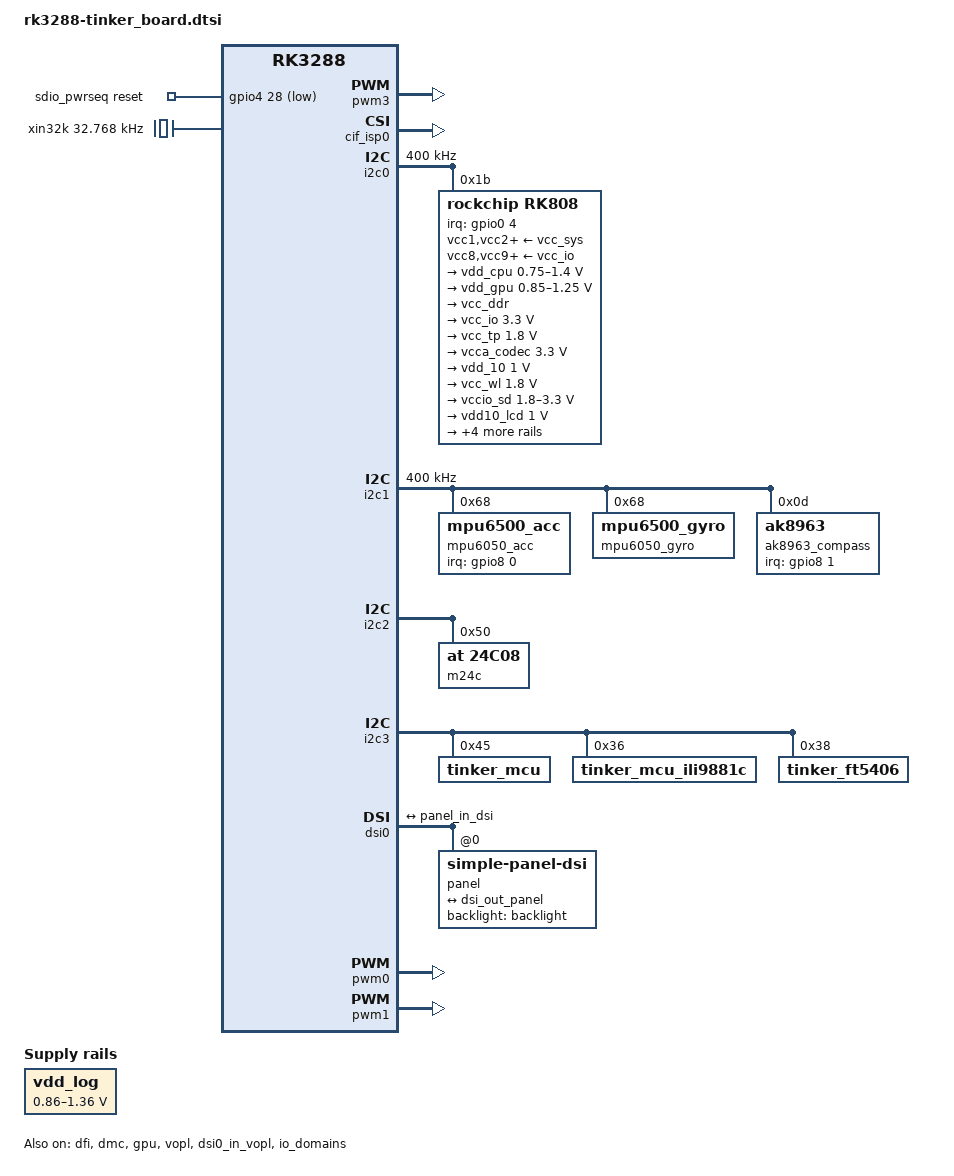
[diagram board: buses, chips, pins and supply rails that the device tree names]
/*
 * Copyright (c) 2018 Fuzhou Rockchip Electronics Co., Ltd
 *
 * SPDX-License-Identifier: (GPL-2.0+ OR MIT)
 */

/dts-v1/;
#include "rk3288-tinker_board-common.dtsi"
#include "rk3288-tinker_board-android.dtsi"
#include <dt-bindings/sensor-dev.h>

/ {
	panel {
		status = "disabled";
		compatible = "simple-panel";
		backlight = <&backlight>;
		enable-gpios = <&gpio7 RK_PA4 GPIO_ACTIVE_HIGH>;
		prepare-delay-ms = <120>;

		display-timings {
			native-mode = <&timing0>;

			timing0: timing0 {
				clock-frequency = <200000000>;
				hactive = <1536>;
				vactive = <2048>;
				hfront-porch = <12>;
				hsync-len = <16>;
				hback-porch = <48>;
				vfront-porch = <8>;
				vsync-len = <4>;
				vback-porch = <8>;
				hsync-active = <0>;
				vsync-active = <0>;
				de-active = <0>;
				pixelclk-active = <0>;
			};
		};

		port {
			panel_in_edp: endpoint {
				remote-endpoint = <&edp_out_panel>;
			};
		};
	};

	sdio_pwrseq: sdio-pwrseq {
		compatible = "mmc-pwrseq-simple";
		clocks = <&rk808 1>;
		clock-names = "ext_clock";
		pinctrl-names = "default";
		pinctrl-0 = <&wifi_enable_h>;

		/*
		 * On the module itself this is one of these (depending
		 * on the actual card populated):
		 * - SDIO_RESET_L_WL_REG_ON
		 * - PDN (power down when low)
		 */
		reset-gpios = <&gpio4 28 GPIO_ACTIVE_LOW>;
	};

	test-power {
		status = "disabled";
	};

	wireless-bluetooth {
		clocks = <&rk808 1>;
		clock-names = "ext_clock";
	};

	/delete-node/ sdmmc-regulator;

	vdd_log: vdd-logic {
		compatible = "pwm-regulator";
		rockchip,pwm_id = <1>;
		rockchip,pwm_voltage = <1100000>;
		pwms = <&pwm1 0 25000 1>;
		regulator-name = "vcc_log";
		regulator-min-microvolt = <860000>;
		regulator-max-microvolt = <1360000>;
		regulator-always-on;
		regulator-boot-on;
	};

	xin32k: xin32k {
		compatible = "fixed-clock";
		clock-frequency = <32768>;
		clock-output-names = "xin32k";
		#clock-cells = <0>;
	};
};

&pwm3 {
       status = "okay";
};

&backlight {
       pwms = <&pwm3 0 1000000 0>;
       default-brightness-level = <200>;
       minimal-brightness-level = <26>;
       soc_enablekl-gpios = <&gpio8 RK_PB1 GPIO_ACTIVE_HIGH>;
       enable_delay = <15>;
       disable_delay = <5>;
       pinctrl-names = "default";
       pinctrl-0 = <&pinctrl_lvds_bl_en>;
};

&cpu0 {
	cpu-supply = <&vdd_cpu>;
};

&cif_isp0 {
	status = "okay";
};

&dfi {
	status = "okay";
};

&dmc {
	center-supply = <&vdd_log>;
	status = "okay";
};

&edp {
	force-hpd;
	status = "disabled";

	ports {
		port@1 {
			reg = <1>;

			edp_out_panel: endpoint {
				remote-endpoint = <&panel_in_edp>;
			};
		};
	};
};

&edp_in_vopb {
	status = "disabled";
};

&edp_in_vopl {
	status = "disabled";
};

&route_edp {
	connect = <&vopl_out_edp>;
	status = "disabled";
};

&gpu {
	status = "okay";
	mali-supply = <&vdd_gpu>;
};

&gmac {
	max-speed = <1000>;
};

&hdmi_analog_sound {
	status = "disabled";
};

&sound {
	status = "okay";
};

&i2c0 {
	clock-frequency = <400000>;

	rk808: pmic@1b {
		compatible = "rockchip,rk808";
		reg = <0x1b>;
		interrupt-parent = <&gpio0>;
		interrupts = <4 IRQ_TYPE_LEVEL_LOW>;
		pinctrl-names = "default";
		pinctrl-0 = <&pmic_int &global_pwroff>;
		rockchip,system-power-controller;
		wakeup-source;
		#clock-cells = <1>;
		clock-output-names = "rk808-clkout1", "rk808-clkout2";

		vcc1-supply = <&vcc_sys>;
		vcc2-supply = <&vcc_sys>;
		vcc3-supply = <&vcc_sys>;
		vcc4-supply = <&vcc_sys>;
		vcc6-supply = <&vcc_sys>;
		vcc8-supply = <&vcc_io>;
		vcc9-supply = <&vcc_io>;
		vcc12-supply = <&vcc_io>;
		vddio-supply = <&vcc_io>;

		regulators {
			vdd_cpu: DCDC_REG1 {
				regulator-always-on;
				regulator-boot-on;
				regulator-min-microvolt = <750000>;
				regulator-max-microvolt = <1400000>;
				regulator-name = "vdd_arm";
				regulator-state-mem {
					regulator-off-in-suspend;
				};
			};

			vdd_gpu: DCDC_REG2 {
				regulator-always-on;
				regulator-boot-on;
				regulator-min-microvolt = <850000>;
				regulator-max-microvolt = <1250000>;
				regulator-name = "vdd_gpu";
				regulator-ramp-delay = <6000>;
				regulator-state-mem {
					regulator-off-in-suspend;
				};
			};

			vcc_ddr: DCDC_REG3 {
				regulator-always-on;
				regulator-boot-on;
				regulator-name = "vcc_ddr";
				regulator-state-mem {
					regulator-on-in-suspend;
				};
			};

			vcc_io: DCDC_REG4 {
				regulator-always-on;
				regulator-boot-on;
				regulator-min-microvolt = <3300000>;
				regulator-max-microvolt = <3300000>;
				regulator-name = "vcc_io";
				regulator-state-mem {
					regulator-on-in-suspend;
					regulator-suspend-microvolt = <3300000>;
				};
			};

			vcc_tp: LDO_REG1 {
				regulator-always-on;
				regulator-boot-on;
				regulator-min-microvolt = <1800000>;
				regulator-max-microvolt = <1800000>;
				regulator-name = "vcc_tp";
				regulator-state-mem {
					regulator-off-in-suspend;
				};
			};

			vcca_codec: LDO_REG2 {
				regulator-always-on;
				regulator-boot-on;
				regulator-min-microvolt = <3300000>;
				regulator-max-microvolt = <3300000>;
				regulator-name = "vcca_codec";
				regulator-state-mem {
					regulator-on-in-suspend;
					regulator-suspend-microvolt = <3300000>;
				};
			};

			vdd_10: LDO_REG3 {
				regulator-always-on;
				regulator-boot-on;
				regulator-min-microvolt = <1000000>;
				regulator-max-microvolt = <1000000>;
				regulator-name = "vdd_10";
				regulator-state-mem {
					regulator-on-in-suspend;
					regulator-suspend-microvolt = <1000000>;
				};
			};

			vcc_wl: LDO_REG4 {
				regulator-always-on;
				regulator-boot-on;
				regulator-min-microvolt = <1800000>;
				regulator-max-microvolt = <1800000>;
				regulator-name = "vcc_wl";
				regulator-state-mem {
					regulator-on-in-suspend;
				};
			};

			vccio_sd: LDO_REG5 {
				regulator-always-on;
				regulator-boot-on;
				regulator-min-microvolt = <1800000>;
				regulator-max-microvolt = <3300000>;
				regulator-name = "vccio_sd";
				regulator-state-mem {
					regulator-off-in-suspend;
				};
			};

			vdd10_lcd: LDO_REG6 {
				regulator-always-on;
				regulator-boot-on;
				regulator-min-microvolt = <1000000>;
				regulator-max-microvolt = <1000000>;
				regulator-name = "vdd10_lcd";
				regulator-state-mem {
					regulator-off-in-suspend;
				};
			};

			vcc_18: LDO_REG7 {
				regulator-always-on;
				regulator-boot-on;
				regulator-min-microvolt = <1800000>;
				regulator-max-microvolt = <1800000>;
				regulator-name = "vcc_18";
				regulator-state-mem {
					regulator-on-in-suspend;
					regulator-suspend-microvolt = <1800000>;
				};
			};

			vcc18_lcd: LDO_REG8 {
				regulator-always-on;
				regulator-boot-on;
				regulator-min-microvolt = <1800000>;
				regulator-max-microvolt = <1800000>;
				regulator-name = "vcc18_lcd";
				regulator-state-mem {
					regulator-off-in-suspend;
				};
			};

			vcc_sd: SWITCH_REG1 {
				regulator-always-on;
				regulator-boot-on;
				regulator-name = "vcc_sd";
				regulator-state-mem {
					regulator-off-in-suspend;
				};
			};

			vcc_lcd: SWITCH_REG2 {
				regulator-always-on;
				regulator-boot-on;
				regulator-name = "vcc_lcd";
				regulator-state-mem {
					regulator-off-in-suspend;
				};
			};
		};
	};
};

&i2c1 {
	status = "okay";
	clock-frequency = <400000>;

	mpu6050_acc: mpu-acc@68 {
		status = "okay";
		compatible = "mpu6500_acc";
		pinctrl-names = "default";
		pinctrl-0 = <&mpu6050_irq_gpio>;
		reg = <0x68>;
		irq-gpio = <&gpio8 0 IRQ_TYPE_EDGE_RISING>;
		irq_enable = <0>;
		poll_delay_ms = <30>;
		type = <SENSOR_TYPE_ACCEL>;
		layout = <8>;
	};

	mpu6050_gyro: mpu-gyro@68 {
		status = "okay";
		compatible = "mpu6500_gyro";
		reg = <0x68>;
		irq_enable = <0>;
		poll_delay_ms = <30>;
		type = <SENSOR_TYPE_GYROSCOPE>;
		layout = <8>;
	};

	ak8963_compass: ak8963-compass@0d {
		status = "okay";
		compatible = "ak8963";
		pinctrl-names = "default";
		pinctrl-0 = <&ak8963_irq_gpio>;
		reg = <0x0d>;
		type = <SENSOR_TYPE_COMPASS>;
		irq-gpio = <&gpio8 1 IRQ_TYPE_EDGE_RISING>;
		irq_enable = <0>;
		poll_delay_ms = <30>;
		layout = <1>;
	};

};

&i2c2 {
	status = "okay";

	m24c: m24c08@50 {
		compatible = "at,24c08";
		reg = <0x50>;
	};
};

&i2c3 {
	status = "okay";

	dsi_lvds_bridge2: lt9211@2d {
		compatible = "lt9211";
		status = "disabled";
		reg = <0x2d>;

		lvds-clk-rate = <72000000>;
		lvds-format = <2>;//VESA
		lvds-bpp = <24>;///RGB888
		dsi-lanes = <2>;//u-boot
		sync_delay = <33>;
		de-mode;
		//dual-link;
		//test-pattern;

		t1=<0>;
		t2=<1>;
		t3=<500>;
		t4=<200>;
		t5=<1>;
		t6=<0>;
		t7=<1000>;

		pinctrl-names = "default";
		pinctrl-0 =  <&pinctrl_sn65dsi84_en &pinctrl_lvds_vdd_en  &pinctrl_pwr_source>;//<&pinctrl_sn65dsi84_irq>

		EN-gpios = <&gpio8 RK_PB0 GPIO_ACTIVE_HIGH>;
		lvds_vdd_en-gpios = <&gpio8 RK_PA6 GPIO_ACTIVE_HIGH>;
		//lt9211_irq-gpios = <&gpio8 RK_PA7 GPIO_ACTIVE_HIGH>;
		pwr_source-gpios = <&gpio8 RK_PA3 GPIO_ACTIVE_HIGH>;
	};

	dsi_lvds_bridge: sn65dsi84@2c {
		compatible = "sn65dsi84";
		status = "disabled";
		reg = <0x2c>;

		lvds-clk-rate = <72000000>;
		lvds-format = <2>;
		lvds-bpp = <24>;
		dsi-lanes = <4>;//u-boot
		sync_delay = <33>;
		//dual-link;
		//test-pattern;

		t1=<0>;
		t2=<1>;
		t3=<500>;
		t4=<200>;
		t5=<1>;
		t6=<0>;
		t7=<1000>;

		pinctrl-names = "default";
		pinctrl-0 =  <&pinctrl_sn65dsi84_en &pinctrl_lvds_vdd_en &pinctrl_sn65dsi84_irq  &pinctrl_pwr_source>;//<&pinctrl_lvds_hdmi_sel>

		/*lvds_hdmi_sel-gpios = <&5 23 GPIO_ACTIVE_HIGH>;*/
		EN-gpios = <&gpio8 RK_PB0 GPIO_ACTIVE_HIGH>;
		lvds_vdd_en-gpios = <&gpio8 RK_PA6 GPIO_ACTIVE_HIGH>;
		dsi84_irq-gpios = <&gpio8 RK_PA7 GPIO_ACTIVE_HIGH>;
		pwr_source-gpios = <&gpio8 RK_PA3 GPIO_ACTIVE_HIGH>;
	};

	tinker_mcu: tinker_mcu@45 {
		compatible = "tinker_mcu";
		reg = <0x45>;
	};

	tinker_mcu_ili9881c: tinker_mcu_ili9881c@36 {
		compatible = "tinker_mcu_ili9881c";
		reg = <0x36>;
	};

        tinker_ft5406: tinker_ft5406@38 {
                compatible = "tinker_ft5406";
                reg = <0x38>;
        };
};

&vopl {
	status = "okay";
};

&dsi0_in_vopl {
	status = "okay";
};

&dsi0_in_vopb {
	status = "disabled";
};

&route_dsi0 {
	status = "disabled";
};

&dsi0 {
	status = "okay";
	panel@0 {
		compatible ="simple-panel-dsi";
		backlight = <&backlight>;
		reg = <0>;
		rk3288_tinker_baord;

		width-mm = <409>;
		height-mm = <230>;
		bpc=<8>;
		bus-format = <0x100a>;//<MEDIA_BUS_FMT_RGB888_1X24>;
		dsi,flags = <0x3>;
		dsi,format = <0>;
		dsi,lanes = <2>;

		t1=<1>;//VCC on to start lvds signal
		t2=<500>;//LVDS signal(start) to turn Backlihgt on
		t3=<200>;//Backlihgt(off) to stop lvds signal
		t4=<1>;//LVDS signal to turn VCC off
		t5=<1000>;//VCC off to turn VCC on

		rpi-init-sequence = [
				29 00 06 10 02 03 00 00 00
				29 00 06 64 01 0C 00 00 00
				29 00 06 68 01 0C 00 00 00
				29 00 06 44 01 00 00 00 00
				29 00 06 48 01 00 00 00 00
				29 00 06 14 01 15 00 00 00
				29 00 06 50 04 60 00 00 00
				29 00 06 20 04 52 01 10 00
				29 00 06 24 04 14 00 1A 00
				29 00 06 28 04 20 03 69 00
				29 00 06 2C 04 02 00 15 00
				29 00 06 30 04 E0 01 07 00
				29 00 06 34 04 01 00 00 00
				29 00 06 64 04 0F 04 00 00
				29 00 06 04 01 01 00 00 00
				29 00 06 04 02 01 00 00 00
		];
		powertip-exit-sequence = [
			05 14 01 28
			05 78 01 10
		];
		powertip-rev-a-init-sequence = [
			39 00 04 ff 98 81 03
			15 00 02 03 55
			15 00 02 04 13
			15 00 02 06 06
			15 00 02 07 01
			15 00 02 09 01
			15 00 02 0a 01
			15 00 02 0f 18
			15 00 02 10 18
			15 00 02 1e 44
			15 00 02 1f 80
			15 00 02 20 02
			15 00 02 21 03
			15 00 02 28 33
			15 00 02 29 03
			15 00 02 34 04
			15 00 02 38 01
			15 00 02 50 01
			15 00 02 51 23
			15 00 02 52 45
			15 00 02 53 67
			15 00 02 54 89
			15 00 02 55 ab
			15 00 02 56 01
			15 00 02 57 23
			15 00 02 58 45
			15 00 02 59 67
			15 00 02 5a 89
			15 00 02 5b ab
			15 00 02 5c cd
			15 00 02 5d ef
			15 00 02 5e 11
			15 00 02 5f 14
			15 00 02 60 15
			15 00 02 61 0f
			15 00 02 62 0d
			15 00 02 63 0e
			15 00 02 64 0c
			15 00 02 65 06
			15 00 02 66 02
			15 00 02 67 02
			15 00 02 68 02
			15 00 02 69 02
			15 00 02 6a 02
			15 00 02 6b 02
			15 00 02 6c 02
			15 00 02 6d 02
			15 00 02 6e 02
			15 00 02 6f 02
			15 00 02 70 02
			15 00 02 72 01
			15 00 02 73 08
			15 00 02 74 02
			15 00 02 75 14
			15 00 02 76 15
			15 00 02 77 0f
			15 00 02 78 0d
			15 00 02 79 0e
			15 00 02 7a 0c
			15 00 02 7b 08
			15 00 02 7c 02
			15 00 02 7d 02
			15 00 02 7e 02
			15 00 02 7f 02
			15 00 02 80 02
			15 00 02 81 02
			15 00 02 82 02
			15 00 02 83 02
			15 00 02 84 02
			15 00 02 85 02
			15 00 02 86 02
			15 00 02 88 01
			15 00 02 89 06
			15 00 02 8a 02
			39 00 04 ff 98 81 04
			15 00 02 6c 15
			15 00 02 6e 2a
			15 00 02 6f 33
			15 00 02 3a 24
			15 00 02 8d 14
			15 00 02 87 ba
			15 00 02 26 76
			15 00 02 b2 d1
			15 00 02 b5 d7
			15 00 02 35 1f
			39 00 04 ff 98 81 01
			15 00 02 22 0a
			15 00 02 53 72
			15 00 02 55 77
			15 00 02 50 a6
			15 00 02 51 a6
			15 00 02 60 30
			15 00 02 a0 08
			15 00 02 a1 1a
			15 00 02 a2 2a
			15 00 02 a3 14
			15 00 02 a4 17
			15 00 02 a5 2b
			15 00 02 a6 1d
			15 00 02 a7 20
			15 00 02 a8 9d
			15 00 02 a9 1c
			15 00 02 aa 29
			15 00 02 ab 8f
			15 00 02 ac 20
			15 00 02 ad 1f
			15 00 02 ae 4f
			15 00 02 af 23
			15 00 02 b0 29
			15 00 02 b1 56
			15 00 02 b2 66
			15 00 02 b3 39
			15 00 02 c0 08
			15 00 02 c1 1a
			15 00 02 c2 2a
			15 00 02 c3 15
			15 00 02 c4 17
			15 00 02 c5 2b
			15 00 02 c6 1d
			15 00 02 c7 20
			15 00 02 c8 9d
			15 00 02 c9 1d
			15 00 02 ca 29
			15 00 02 cb 8f
			15 00 02 cc 20
			15 00 02 cd 1f
			15 00 02 ce 4f
			15 00 02 cf 24
			15 00 02 d0 29
			15 00 02 d1 56
			15 00 02 d2 66
			15 00 02 d3 39
			39 00 04 ff 98 81 00
			15 00 02 35 00
			05 78 01 11
			05 78 01 29
		];
		powertip-rev-b-init-sequence = [
			39 00 04 FF 98 81 03
			15 00 02 01 00
			15 00 02 02 00
			15 00 02 03 73
			15 00 02 04 00
			15 00 02 05 00
			15 00 02 06 0A
			15 00 02 07 00
			15 00 02 08 00
			15 00 02 09 61
			15 00 02 0A 00
			15 00 02 0B 00
			15 00 02 0C 01
			15 00 02 0D 00
			15 00 02 0E 00
			15 00 02 0F 61
			15 00 02 10 61
			15 00 02 11 00
			15 00 02 12 00
			15 00 02 13 00
			15 00 02 14 00
			15 00 02 15 00
			15 00 02 16 00
			15 00 02 17 00
			15 00 02 18 00
			15 00 02 19 00
			15 00 02 1A 00
			15 00 02 1B 00
			15 00 02 1C 00
			15 00 02 1D 00
			15 00 02 1E 40
			15 00 02 1F 80
			15 00 02 20 06
			15 00 02 21 01
			15 00 02 22 00
			15 00 02 23 00
			15 00 02 24 00
			15 00 02 25 00
			15 00 02 26 00
			15 00 02 27 00
			15 00 02 28 33
			15 00 02 29 03
			15 00 02 2A 00
			15 00 02 2B 00
			15 00 02 2C 00
			15 00 02 2D 00
			15 00 02 2E 00
			15 00 02 2F 00
			15 00 02 30 00
			15 00 02 31 00
			15 00 02 32 00
			15 00 02 33 00
			15 00 02 34 04
			15 00 02 35 00
			15 00 02 36 00
			15 00 02 37 00
			15 00 02 38 3C
			15 00 02 39 00
			15 00 02 3A 00
			15 00 02 3B 00
			15 00 02 3C 00
			15 00 02 3D 00
			15 00 02 3E 00
			15 00 02 3F 00
			15 00 02 40 00
			15 00 02 41 00
			15 00 02 42 00
			15 00 02 43 00
			15 00 02 44 00
			15 00 02 50 10
			15 00 02 51 32
			15 00 02 52 54
			15 00 02 53 76
			15 00 02 54 98
			15 00 02 55 BA
			15 00 02 56 10
			15 00 02 57 32
			15 00 02 58 54
			15 00 02 59 76
			15 00 02 5A 98
			15 00 02 5B BA
			15 00 02 5C DC
			15 00 02 5D FE
			15 00 02 5E 00
			15 00 02 5F 0E
			15 00 02 60 0F
			15 00 02 61 0C
			15 00 02 62 0D
			15 00 02 63 06
			15 00 02 64 07
			15 00 02 65 02
			15 00 02 66 02
			15 00 02 67 02
			15 00 02 68 02
			15 00 02 69 01
			15 00 02 6A 00
			15 00 02 6B 02
			15 00 02 6C 15
			15 00 02 6D 14
			15 00 02 6E 02
			15 00 02 6F 02
			15 00 02 70 02
			15 00 02 71 02
			15 00 02 72 02
			15 00 02 73 02
			15 00 02 74 02
			15 00 02 75 0E
			15 00 02 76 0F
			15 00 02 77 0C
			15 00 02 78 0D
			15 00 02 79 06
			15 00 02 7A 07
			15 00 02 7B 02
			15 00 02 7C 02
			15 00 02 7D 02
			15 00 02 7E 02
			15 00 02 7F 01
			15 00 02 80 00
			15 00 02 81 02
			15 00 02 82 14
			15 00 02 83 15
			15 00 02 84 02
			15 00 02 85 02
			15 00 02 86 02
			15 00 02 87 02
			15 00 02 88 02
			15 00 02 89 02
			15 00 02 8A 02
			39 00 04 FF 98 81 04
			15 00 02 6C 15
			15 00 02 6E 2A
			15 00 02 6F 33
			15 00 02 3B 98
			15 00 02 3A 94
			15 00 02 8D 14
			15 00 02 87 BA
			15 00 02 26 76
			15 00 02 B2 D1
			15 00 02 B5 06
			15 00 02 38 01
			15 00 02 39 00
			39 00 04 FF 98 81 01
			15 00 02 22 0A
			15 00 02 31 00
			15 00 02 53 7D
			15 00 02 55 8F
			15 00 02 40 33
			15 00 02 50 96
			15 00 02 51 96
			15 00 02 60 23
			15 00 02 A0 08
			15 00 02 A1 1D
			15 00 02 A2 2A
			15 00 02 A3 10
			15 00 02 A4 15
			15 00 02 A5 28
			15 00 02 A6 1C
			15 00 02 A7 1D
			15 00 02 A8 7E
			15 00 02 A9 1D
			15 00 02 AA 29
			15 00 02 AB 6B
			15 00 02 AC 1A
			15 00 02 AD 18
			15 00 02 AE 4B
			15 00 02 AF 20
			15 00 02 B0 27
			15 00 02 B1 50
			15 00 02 B2 64
			15 00 02 B3 39
			15 00 02 C0 08
			15 00 02 C1 1D
			15 00 02 C2 2A
			15 00 02 C3 10
			15 00 02 C4 15
			15 00 02 C5 28
			15 00 02 C6 1C
			15 00 02 C7 1D
			15 00 02 C8 7E
			15 00 02 C9 1D
			15 00 02 CA 29
			15 00 02 CB 6B
			15 00 02 CC 1A
			15 00 02 CD 18
			15 00 02 CE 4B
			15 00 02 CF 20
			15 00 02 D0 27
			15 00 02 D1 50
			15 00 02 D2 64
			15 00 02 D3 39
			39 00 04 ff 98 81 00
			15 00 02 35 00
			05 78 01 11
			05 78 01 29
		];

		rpi-display-timings {
			native-mode = <&timing2>;

			timing2: timing2 {
				clock-frequency = <27200000>;
				hactive = <800>;
				vactive = <480>;
				hfront-porch = <1>;
				hsync-len = <2>;
				hback-porch = <52>;
				vfront-porch = <28>;//Let it be different from panel-simple to force re-init
				vsync-len = <2>;
				vback-porch = <21>;
				hsync-active = <0>;
				vsync-active = <0>;
				de-active = <0>;
				pixelclk-active = <0>;
			};
		};

		powertip-display-timings {
			native-mode = <&timing1>;

			timing1: timing1 {
				clock-frequency = <66800000>;
				hactive = <720>;
				vactive = <1280>;
				hfront-porch = <8>;
				hsync-len = <55>;
				hback-porch = <55>;
				vfront-porch = <8>;
				vsync-len = <20>;
				vback-porch = <20>;
				hsync-active = <0>;
				vsync-active = <0>;
				de-active = <0>;
				pixelclk-active = <0>;
			};
		};

		display-timings {
			native-mode = <&timing84>;

			timing84: timing84  {
				clock-frequency = <75000000>;
				hactive = <1366>;
				vactive = <768>;
				hfront-porch = <70>;
				hback-porch = <80>;
				hsync-len = <34>;
				vfront-porch = <15>;
				vsync-len = <8>;
				vback-porch = <15>;
				hsync-active = <0>;
				vsync-active = <0>;
				de-active = <1>;
				pixelclk-active = <0>;
			};
		};


		ports {
			#address-cells = <1>;
			#size-cells = <0>;

			port@0 {
				reg = <0>;

				panel_in_dsi: endpoint {
					remote-endpoint = <&dsi_out_panel>;
				};
			};
		};
	};

	ports {
		#address-cells = <1>;
		#size-cells = <0>;

		port@1 {
			reg = <1>;

			dsi_out_panel: endpoint {
				remote-endpoint = <&panel_in_dsi>;
			};
		};
	};
};

&io_domains {
	status = "okay";
	audio-supply = <&vcc_io>;
	bb-supply = <&vcc_io>;
	dvp-supply = <&vcc_io>;
	flash0-supply = <&vcc_18>;
	flash1-supply = <&vcc_io>;
	gpio30-supply = <&vcc_io>;
	gpio1830 = <&vcc_io>;
	lcdc-supply = <&vcc_lcd>;
	sdcard-supply = <&vccio_sd>;
	wifi-supply = <&vcc_wl>;
};

&rockchip_suspend {
	status = "okay";
	rockchip,pwm-regulator-config = <
	(0
	| PWM1_REGULATOR_EN
	)
	>;
};

&pwm0 {
	status = "okay";
};

&pwm1 {
	status = "okay";
	pinctrl-names = "active";
	pinctrl-0 = <&pwm1_pin_pull_down>;
};

&pinctrl {
	mpu6050 {
		mpu6050_irq_gpio: mpu6050-irq-gpio {
			rockchip,pins = <8 RK_PA0 RK_FUNC_GPIO &pcfg_pull_none>;
		};
	};

	ak8963 {
		ak8963_irq_gpio: ak8963-irq-gpio {
			rockchip,pins = <8 RK_PA1 RK_FUNC_GPIO &pcfg_pull_none>;
		};
	};

	mipi_to_lvds {
		/*pinctrl_lvds_hdmi_sel: lvds_hdmi_sel {
			rockchip,pins = <0 5 RK_FUNC_GPIO  &pcfg_pull_none>;
		};*/

		pinctrl_lvds_bl_en: lvds_bl_en {
			rockchip,pins = <8 RK_PB1 RK_FUNC_GPIO  &pcfg_pull_none>;
		};

		pinctrl_sn65dsi84_en: sn65dsi84_en {
			rockchip,pins = <8 RK_PB0 RK_FUNC_GPIO   &pcfg_pull_none>;
		};

		pinctrl_lvds_vdd_en: lvds_vdd_en {
			rockchip,pins = <8 RK_PA6 RK_FUNC_GPIO  &pcfg_pull_none>;
		};

		pinctrl_sn65dsi84_irq: sn65dsi84_irq{
			rockchip,pins = <8 RK_PA7 RK_FUNC_GPIO  &pcfg_pull_none>;
		};

		pinctrl_pwr_source: pwr_source {
			rockchip,pins = <8 RK_PA3 RK_FUNC_GPIO  &pcfg_pull_none>;
		};
	 };
};
